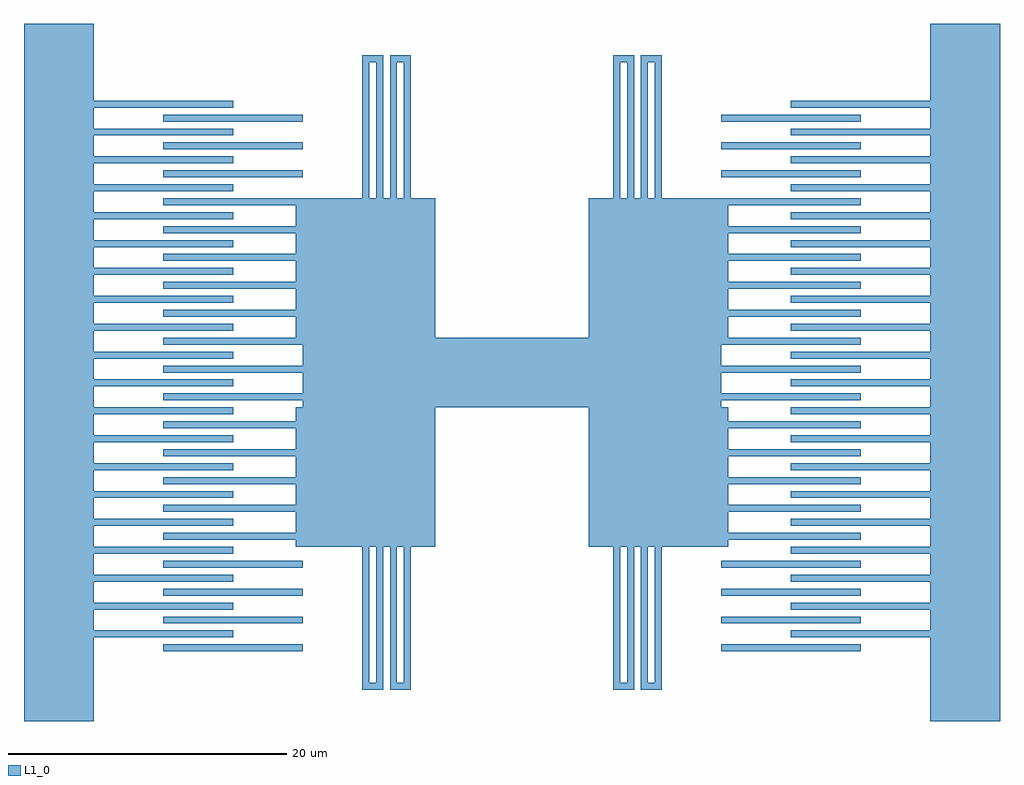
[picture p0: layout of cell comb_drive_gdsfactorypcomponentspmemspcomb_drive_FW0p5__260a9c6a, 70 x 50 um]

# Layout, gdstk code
import gdstk
lib = gdstk.Library(unit=1e-6, precision=1e-09)
def R(c, l, rs):  # rectangles x0, y0, x1, y1
    for r in rs: c.add(gdstk.rectangle(r[:2], r[2:], *l))
def A(c, l, x, y, w, h, nx, ny, dx, dy):  # array of equal rectangles
    R(c, l, [(x+i*dx, y+j*dy, x+i*dx+w, y+j*dy+h) for i in range(nx) for j in range(ny)])
L1_0 = (1, 0)

comb_drive_gdsfactorypco = lib.new_cell('comb_drive_gdsfactorypcomponentspmemspcomb_drive_FW0p5__260a9c6a')
A(comb_drive_gdsfactorypco, L1_0, -10.75, -22.5, 0.5, 20, 4, 2, 1, 25)
A(comb_drive_gdsfactorypco, L1_0, 7.25, -22.5, 0.5, 20, 4, 2, 1, 25)
A(comb_drive_gdsfactorypco, L1_0, -25, -20, 10, 0.5, 1, 20, 0, 2)
A(comb_drive_gdsfactorypco, L1_0, 15, -20, 10, 0.5, 1, 20, 0, 2)
A(comb_drive_gdsfactorypco, L1_0, -30, -19, 10, 0.5, 1, 20, 0, 2)
A(comb_drive_gdsfactorypco, L1_0, 20, -19, 10, 0.5, 1, 20, 0, 2)
R(comb_drive_gdsfactorypco, L1_0, [(-35,-25,-30,25), (30,-25,35,25), (-10.75,-22.75,-9.25,-22.25), (-8.75,-22.75,-7.25,-22.25), (7.25,-22.75,8.75,-22.25), (9.25,-22.75,10.75,-22.25), (-15.5,-12.5,-5.5,-2.5), (5.5,-12.5,15.5,-2.5), (-9.75,-2.75,-8.25,-2.25), (8.25,-2.75,9.75,-2.25), (-15,-2.5,15,2.5), (-9.75,2.25,-8.25,2.75), (8.25,2.25,9.75,2.75), (-15.5,2.5,-5.5,12.5), (5.5,2.5,15.5,12.5), (-10.75,22.25,-9.25,22.75), (-8.75,22.25,-7.25,22.75), (7.25,22.25,8.75,22.75), (9.25,22.25,10.75,22.75)])

lib.write_gds('comb_drive_gdsfactorypcomponentspmemspcomb_drive_FW0p5__260a9c6a.gds')
